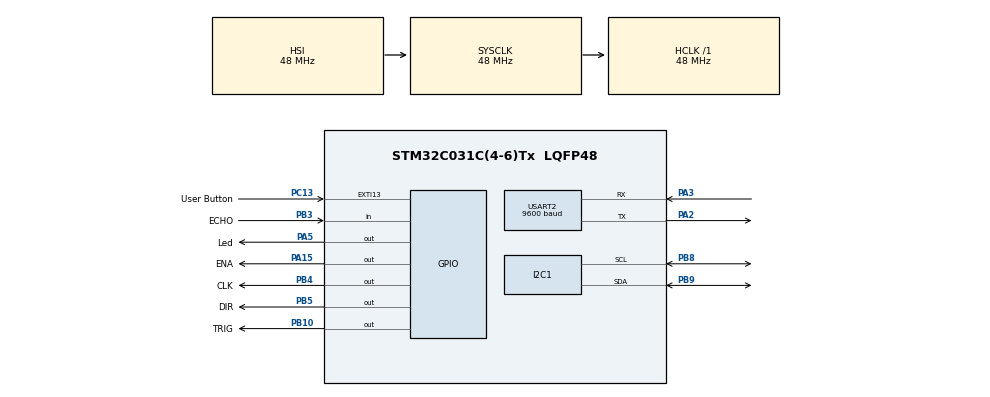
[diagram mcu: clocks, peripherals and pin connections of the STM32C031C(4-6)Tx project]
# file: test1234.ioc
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I2C1.Timing=0x20303E5D
Mcu.Family=STM32C0
Mcu.Name=STM32C031C(4-6)Tx
Mcu.Package=LQFP48
NVIC.EXTI4_15_IRQn=true\:0\:0\:false\:false\:true\:true\:true\:true
PA13.Mode=Serial_Wire
PA13.Signal=DEBUG_SWDIO
PA14-BOOT0.Mode=Serial_Wire
PA14-BOOT0.Signal=DEBUG_SWCLK
PA15.GPIO_Label=ENA
PA15.Signal=GPIO_Output
PA2.Mode=Asynchronous
PA2.Signal=USART2_TX
PA3.Mode=Asynchronous
PA3.Signal=USART2_RX
PA5.GPIO_Label=Led
PA5.GPIO_Speed=GPIO_SPEED_FREQ_VERY_HIGH
PA5.PinState=GPIO_PIN_SET
PA5.Signal=GPIO_Output
PB10.GPIO_Label=TRIG
PB10.Signal=GPIO_Output
PB3.GPIO_Label=ECHO
PB3.Signal=GPIO_Input
PB4.GPIO_Label=CLK
PB4.Signal=GPIO_Output
PB5.GPIO_Label=DIR
PB5.Signal=GPIO_Output
PB8.Mode=I2C
PB8.Signal=I2C1_SCL
PB9.Mode=I2C
PB9.Signal=I2C1_SDA
PC13.GPIO_Label=User Button
PC13.Signal=GPXTI13
PC14-OSCX_IN\ (PC14).Mode=LSE-External-Oscillator
PC14-OSCX_IN\ (PC14).Signal=RCC_OSCX_IN
PC15-OSCX_OUT\ (PC15).Mode=LSE-External-Oscillator
PC15-OSCX_OUT\ (PC15).Signal=RCC_OSCX_OUT
PF0-OSC_IN\ (PF0).Mode=HSE-External-Oscillator
PF0-OSC_IN\ (PF0).Signal=RCC_OSC_IN
PF1-OSC_OUT\ (PF1).Mode=HSE-External-Oscillator
PF1-OSC_OUT\ (PF1).Signal=RCC_OSC_OUT
ProjectManager.HeapSize=0x200
ProjectManager.StackSize=0x400
ProjectManager.TargetToolchain=STM32CubeIDE
RCC.ADCFreq_Value=48000000
RCC.AHBFreq_Value=48000000
RCC.CortexFreq_Value=48000000
RCC.EXTERNAL_CLOCK_VALUE=12288000
RCC.HCLKFreq_Value=48000000
RCC.HSE_VALUE=48000000
RCC.HSISYSCLKDivider=RCC_HSI_DIV1
RCC.HSI_VALUE=48000000
RCC.SYSCLKFreq_VALUE=48000000
TIM1.Prescaler=47
USART2.BaudRate=9600
USART2.VirtualMode-Asynchronous=VM_ASYNC
VP_TIM1_VS_ClockSourceINT.Mode=Internal
board=NUCLEO-C031C6

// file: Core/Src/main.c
/* USER CODE BEGIN Header */
/**
  ******************************************************************************
  * @file           : main.c
  * @brief          : Main program body
  ******************************************************************************
  * @attention
  *
  * Copyright (c) 2024 STMicroelectronics.
  * All rights reserved.
  *
  * This software is licensed under terms that can be found in the LICENSE file
  * in the root directory of this software component.
  * If no LICENSE file comes with this software, it is provided AS-IS.
  *
  ******************************************************************************
  */
/* USER CODE END Header */
#include "main.h"

/* USER CODE BEGIN Includes */
#include <stdio.h>
#include <string.h>
/* USER CODE END Includes */

/* USER CODE BEGIN PD */
#define MIKROKROK 16
#define LINE_MAX_LENGTH	10

static char line_buffer[LINE_MAX_LENGTH + 1];
static uint32_t line_length;

int zadana_odleglosc = 170;
/* USER CODE END PD */

I2C_HandleTypeDef hi2c1;

TIM_HandleTypeDef htim1;

UART_HandleTypeDef huart2;

void SystemClock_Config(void);
static void MX_GPIO_Init(void);
static void MX_I2C1_Init(void);
static void MX_USART2_UART_Init(void);
static void MX_TIM1_Init(void);

/* USER CODE BEGIN 0 */
int __io_putchar(int ch)
{
    if (ch == '\n') {
        uint8_t ch2 = '\r';
        HAL_UART_Transmit(&huart2, &ch2, 1, HAL_MAX_DELAY);
    }

    HAL_UART_Transmit(&huart2, (uint8_t*)&ch, 1, HAL_MAX_DELAY);
    return 1;
}

void line_append(uint8_t value)
{
	if (value == '\r' || value == '\n') {
		if (line_length > 0) {
			line_buffer[line_length] = '\0';
				printf("ZMIANA WARTOSCI ZADANEJ NA = %s\n", line_buffer);
				zadana_odleglosc = atoi(line_buffer);
			line_length = 0;
		}
	}
	else {
			line_buffer[line_length++] = value;
		}
}
/* USER CODE END 0 */

int main(void)
{

  /* MCU Configuration--------------------------------------------------------*/

  /* Reset of all peripherals, Initializes the Flash interface and the Systick. */
  HAL_Init();

  /* Configure the system clock */
  SystemClock_Config();

  /* Initialize all configured peripherals */
  MX_GPIO_Init();
  MX_I2C1_Init();
  MX_USART2_UART_Init();
  MX_TIM1_Init();
  /* USER CODE BEGIN 2 */
  HAL_TIM_Base_Start(&htim1);
  HAL_GPIO_WritePin(TRIG_GPIO_Port, TRIG_Pin, GPIO_PIN_RESET);
  HAL_GPIO_WritePin(CLK_GPIO_Port, CLK_Pin, GPIO_PIN_RESET);
  HAL_GPIO_WritePin(DIR_GPIO_Port, DIR_Pin, GPIO_PIN_SET);
  HAL_GPIO_WritePin(ENA_GPIO_Port, ENA_Pin, GPIO_PIN_SET);
  HAL_Delay(1000);
  HAL_GPIO_WritePin(ENA_GPIO_Port, ENA_Pin, GPIO_PIN_RESET);
  HAL_Delay(1000);

  for (int i=0; i<18*MIKROKROK; i++) {
	  HAL_GPIO_WritePin(CLK_GPIO_Port, CLK_Pin, GPIO_PIN_RESET);
	  HAL_Delay(2);
	  HAL_GPIO_WritePin(CLK_GPIO_Port, CLK_Pin, GPIO_PIN_SET);
	  HAL_Delay(2);
  }

  int angle = 0;
  float calka = 0;
  int kontrola[10] = {0,0,0,0,0,0,0,0,0,0};
  float prev_uchyb = 0;
  /* USER CODE END 2 */

  /* Infinite loop */
  /* USER CODE BEGIN WHILE */
  while (1)
  {
	  uint16_t czas_cyklu_start = __HAL_TIM_GET_COUNTER(&htim1);

	  HAL_GPIO_WritePin(TRIG_GPIO_Port, TRIG_Pin, GPIO_PIN_SET);
	  while(__HAL_TIM_GET_COUNTER(&htim1)-czas_cyklu_start<=10) {}
	  HAL_GPIO_WritePin(TRIG_GPIO_Port, TRIG_Pin, GPIO_PIN_RESET);
	  while(!HAL_GPIO_ReadPin(ECHO_GPIO_Port, ECHO_Pin)) {}
	  uint16_t czas_ECHO_start = __HAL_TIM_GET_COUNTER(&htim1);
	  while(HAL_GPIO_ReadPin(ECHO_GPIO_Port, ECHO_Pin)) {}
	  uint16_t czas_ECHO_stop = __HAL_TIM_GET_COUNTER(&htim1);

	  uint16_t czas_us = czas_ECHO_stop-czas_ECHO_start;

	  float odleglosc_mm_float = (float)czas_us / 2.0 * 0.0343 * 10.0;

	  int odleglosc_mm = (int)(odleglosc_mm_float);

	  //https://forbot.pl/blog/kurs-stm32l4-komunikacja-przez-uart-debugger-stm32-uart-id46577
	  uint8_t value;
	  if (HAL_UART_Receive(&huart2, &value, 1, 0) == HAL_OK)
		  line_append(value);

	  float kp = 1.3;
	  float ki = 0.1;
	  float kd = 7.0;

	  int uchyb = zadana_odleglosc - odleglosc_mm;
	  if (abs(uchyb)<=70) calka+=uchyb;

	  if (abs(uchyb)<=5) kontrola[0]=1;
	  else kontrola[0] = 0;

	  for (int i=0; i<9; i++) {
		  kontrola[9-i] = kontrola[8-i];
	  }

	  int suma =0 ;
	  for (int i=0; i<10; i++) {
		  suma+=kontrola[i];
	  }
	  if (suma==10) calka=0;

	  float wychylenie = kp*uchyb+ki*calka+kd*(uchyb-prev_uchyb);

	  prev_uchyb = uchyb;

	  int wychylenie_int = (int)(wychylenie);

	  if (wychylenie_int<-18*MIKROKROK) wychylenie_int = -18*MIKROKROK;
	  else if (wychylenie_int>18*MIKROKROK) wychylenie_int = 18*MIKROKROK;

	  uint16_t czas_zmiana_DIR_start = __HAL_TIM_GET_COUNTER(&htim1);
	  if ((wychylenie_int-angle)<0) HAL_GPIO_WritePin(DIR_GPIO_Port, DIR_Pin, GPIO_PIN_SET);
	  else HAL_GPIO_WritePin(DIR_GPIO_Port, DIR_Pin, GPIO_PIN_RESET);
	  while(__HAL_TIM_GET_COUNTER(&htim1)-czas_zmiana_DIR_start<=10) {}

	  printf("Uchyb =\t %d mm\r\n", uchyb);
	  while(__HAL_TIM_GET_COUNTER(&htim1)-czas_cyklu_start<=20000) {}

	  for (int i=0; i<40; i++) {
		  if ((wychylenie_int-angle)==0) {
			  HAL_Delay((40-i)*2);
			  break;
		  }

		  HAL_GPIO_WritePin(CLK_GPIO_Port, CLK_Pin, GPIO_PIN_RESET);
		  HAL_Delay(1);
		  HAL_GPIO_WritePin(CLK_GPIO_Port, CLK_Pin, GPIO_PIN_SET);
		  HAL_Delay(1);

		  if ((wychylenie_int-angle)<0) angle--;
		  else angle++;
	  }

    /* USER CODE END WHILE */

  }
}

void SystemClock_Config(void)
{
  RCC_OscInitTypeDef RCC_OscInitStruct = {0};
  RCC_ClkInitTypeDef RCC_ClkInitStruct = {0};

  /** Initializes the RCC Oscillators according to the specified parameters
  * in the RCC_OscInitTypeDef structure.
  */
  RCC_OscInitStruct.OscillatorType = RCC_OSCILLATORTYPE_HSI;
  RCC_OscInitStruct.HSIState = RCC_HSI_ON;
  RCC_OscInitStruct.HSIDiv = RCC_HSI_DIV1;
  RCC_OscInitStruct.HSICalibrationValue = RCC_HSICALIBRATION_DEFAULT;
  if (HAL_RCC_OscConfig(&RCC_OscInitStruct) != HAL_OK)
  {
    Error_Handler();
  }

  /** Initializes the CPU, AHB and APB buses clocks
  */
  RCC_ClkInitStruct.ClockType = RCC_CLOCKTYPE_HCLK|RCC_CLOCKTYPE_SYSCLK
                              |RCC_CLOCKTYPE_PCLK1;
  RCC_ClkInitStruct.SYSCLKSource = RCC_SYSCLKSOURCE_HSI;
  RCC_ClkInitStruct.SYSCLKDivider = RCC_SYSCLK_DIV1;
  RCC_ClkInitStruct.AHBCLKDivider = RCC_HCLK_DIV1;
  RCC_ClkInitStruct.APB1CLKDivider = RCC_APB1_DIV1;

  if (HAL_RCC_ClockConfig(&RCC_ClkInitStruct, FLASH_LATENCY_1) != HAL_OK)
  {
    Error_Handler();
  }
}

static void MX_I2C1_Init(void)
{

  hi2c1.Instance = I2C1;
  hi2c1.Init.Timing = 0x20303E5D;
  hi2c1.Init.OwnAddress1 = 0;
  hi2c1.Init.AddressingMode = I2C_ADDRESSINGMODE_7BIT;
  hi2c1.Init.DualAddressMode = I2C_DUALADDRESS_DISABLE;
  hi2c1.Init.OwnAddress2 = 0;
  hi2c1.Init.OwnAddress2Masks = I2C_OA2_NOMASK;
  hi2c1.Init.GeneralCallMode = I2C_GENERALCALL_DISABLE;
  hi2c1.Init.NoStretchMode = I2C_NOSTRETCH_DISABLE;
  if (HAL_I2C_Init(&hi2c1) != HAL_OK)
  {
    Error_Handler();
  }

  /** Configure Analogue filter
  */
  if (HAL_I2CEx_ConfigAnalogFilter(&hi2c1, I2C_ANALOGFILTER_ENABLE) != HAL_OK)
  {
    Error_Handler();
  }

  /** Configure Digital filter
  */
  if (HAL_I2CEx_ConfigDigitalFilter(&hi2c1, 0) != HAL_OK)
  {
    Error_Handler();
  }

}

static void MX_TIM1_Init(void)
{

  TIM_ClockConfigTypeDef sClockSourceConfig = {0};
  TIM_MasterConfigTypeDef sMasterConfig = {0};

  htim1.Instance = TIM1;
  htim1.Init.Prescaler = 47;
  htim1.Init.CounterMode = TIM_COUNTERMODE_UP;
  htim1.Init.Period = 65535;
  htim1.Init.ClockDivision = TIM_CLOCKDIVISION_DIV1;
  htim1.Init.RepetitionCounter = 0;
  htim1.Init.AutoReloadPreload = TIM_AUTORELOAD_PRELOAD_DISABLE;
  if (HAL_TIM_Base_Init(&htim1) != HAL_OK)
  {
    Error_Handler();
  }
  sClockSourceConfig.ClockSource = TIM_CLOCKSOURCE_INTERNAL;
  if (HAL_TIM_ConfigClockSource(&htim1, &sClockSourceConfig) != HAL_OK)
  {
    Error_Handler();
  }
  sMasterConfig.MasterOutputTrigger = TIM_TRGO_RESET;
  sMasterConfig.MasterOutputTrigger2 = TIM_TRGO2_RESET;
  sMasterConfig.MasterSlaveMode = TIM_MASTERSLAVEMODE_DISABLE;
  if (HAL_TIMEx_MasterConfigSynchronization(&htim1, &sMasterConfig) != HAL_OK)
  {
    Error_Handler();
  }

}

static void MX_USART2_UART_Init(void)
{

  huart2.Instance = USART2;
  huart2.Init.BaudRate = 9600;
  huart2.Init.WordLength = UART_WORDLENGTH_8B;
  huart2.Init.StopBits = UART_STOPBITS_1;
  huart2.Init.Parity = UART_PARITY_NONE;
  huart2.Init.Mode = UART_MODE_TX_RX;
  huart2.Init.HwFlowCtl = UART_HWCONTROL_NONE;
  huart2.Init.OverSampling = UART_OVERSAMPLING_16;
  huart2.Init.OneBitSampling = UART_ONE_BIT_SAMPLE_DISABLE;
  huart2.Init.ClockPrescaler = UART_PRESCALER_DIV1;
  huart2.AdvancedInit.AdvFeatureInit = UART_ADVFEATURE_NO_INIT;
  if (HAL_UART_Init(&huart2) != HAL_OK)
  {
    Error_Handler();
  }

}

static void MX_GPIO_Init(void)
{
  GPIO_InitTypeDef GPIO_InitStruct = {0};

  /* GPIO Ports Clock Enable */
  __HAL_RCC_GPIOC_CLK_ENABLE();
  __HAL_RCC_GPIOF_CLK_ENABLE();
  __HAL_RCC_GPIOA_CLK_ENABLE();
  __HAL_RCC_GPIOB_CLK_ENABLE();

  /*Configure GPIO pin Output Level */
  HAL_GPIO_WritePin(Led_GPIO_Port, Led_Pin, GPIO_PIN_SET);

  /*Configure GPIO pin Output Level */
  HAL_GPIO_WritePin(GPIOB, TRIG_Pin|CLK_Pin|DIR_Pin, GPIO_PIN_RESET);

  /*Configure GPIO pin Output Level */
  HAL_GPIO_WritePin(ENA_GPIO_Port, ENA_Pin, GPIO_PIN_RESET);

  /*Configure GPIO pin : User_Button_Pin */
  GPIO_InitStruct.Pin = User_Button_Pin;
  GPIO_InitStruct.Mode = GPIO_MODE_IT_RISING;
  GPIO_InitStruct.Pull = GPIO_NOPULL;
  HAL_GPIO_Init(User_Button_GPIO_Port, &GPIO_InitStruct);

  /*Configure GPIO pin : Led_Pin */
  GPIO_InitStruct.Pin = Led_Pin;
  GPIO_InitStruct.Mode = GPIO_MODE_OUTPUT_PP;
  GPIO_InitStruct.Pull = GPIO_NOPULL;
  GPIO_InitStruct.Speed = GPIO_SPEED_FREQ_VERY_HIGH;
  HAL_GPIO_Init(Led_GPIO_Port, &GPIO_InitStruct);

  /*Configure GPIO pins : TRIG_Pin CLK_Pin DIR_Pin */
  GPIO_InitStruct.Pin = TRIG_Pin|CLK_Pin|DIR_Pin;
  GPIO_InitStruct.Mode = GPIO_MODE_OUTPUT_PP;
  GPIO_InitStruct.Pull = GPIO_NOPULL;
  GPIO_InitStruct.Speed = GPIO_SPEED_FREQ_LOW;
  HAL_GPIO_Init(GPIOB, &GPIO_InitStruct);

  /*Configure GPIO pin : ENA_Pin */
  GPIO_InitStruct.Pin = ENA_Pin;
  GPIO_InitStruct.Mode = GPIO_MODE_OUTPUT_PP;
  GPIO_InitStruct.Pull = GPIO_NOPULL;
  GPIO_InitStruct.Speed = GPIO_SPEED_FREQ_LOW;
  HAL_GPIO_Init(ENA_GPIO_Port, &GPIO_InitStruct);

  /*Configure GPIO pin : ECHO_Pin */
  GPIO_InitStruct.Pin = ECHO_Pin;
  GPIO_InitStruct.Mode = GPIO_MODE_INPUT;
  GPIO_InitStruct.Pull = GPIO_NOPULL;
  HAL_GPIO_Init(ECHO_GPIO_Port, &GPIO_InitStruct);

  /* EXTI interrupt init*/
  HAL_NVIC_SetPriority(EXTI4_15_IRQn, 0, 0);
  HAL_NVIC_EnableIRQ(EXTI4_15_IRQn);

}

void Error_Handler(void)
{
  __disable_irq();
  while (1)
  {
  }
}
